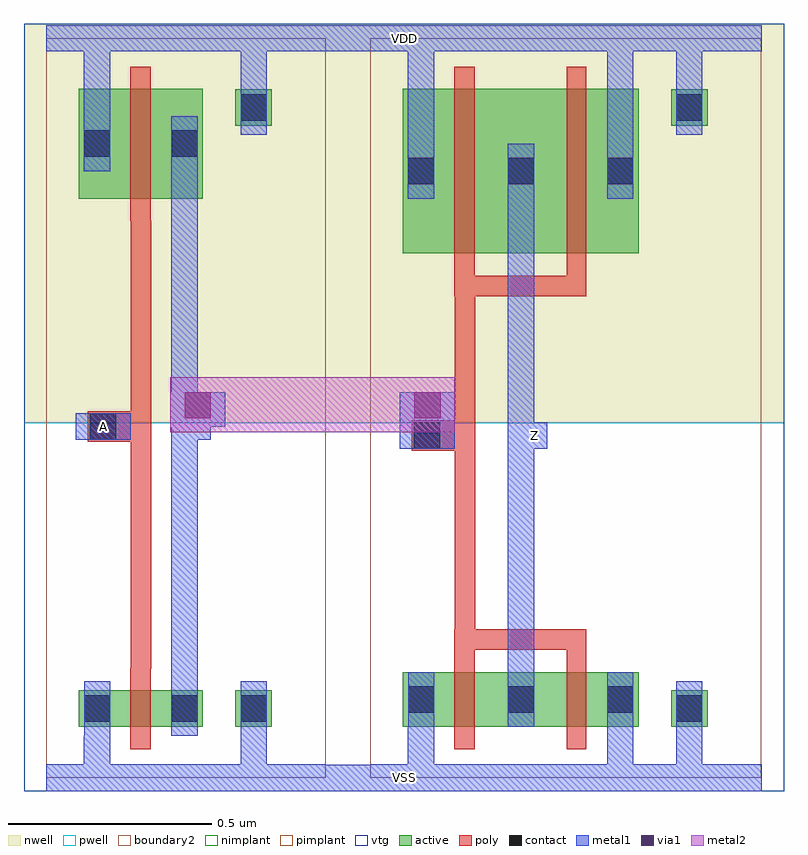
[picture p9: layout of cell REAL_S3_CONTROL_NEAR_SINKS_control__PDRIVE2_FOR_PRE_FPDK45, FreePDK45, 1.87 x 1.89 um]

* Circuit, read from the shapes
.subckt REAL_S3_CONTROL_NEAR_SINKS_control__PDRIVE2_FOR_PRE_FPDK45 A VDD VSS Z
M1 n1 A VSS VSS nfet w=0.09u l=0.05u
M2 Z n1 VSS VSS nfet w=0.135u l=0.05u
M3 VSS n1 Z VSS nfet w=0.135u l=0.049u
M4 n1 A VDD VDD pfet w=0.27u l=0.05u
M5 Z n1 VDD VDD pfet w=0.405u l=0.05u
M6 VDD n1 Z VDD pfet w=0.405u l=0.049u
.ends

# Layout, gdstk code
import gdstk
lib = gdstk.Library(unit=1e-6, precision=1e-09)
def R(c, l, rs):  # rectangles x0, y0, x1, y1
    for r in rs: c.add(gdstk.rectangle(r[:2], r[2:], *l))
active = (1, 0)
pwell = (2, 0)
nwell = (3, 0)
nimplant = (4, 0)
pimplant = (5, 0)
vtg = (6, 0)
poly = (9, 0)
contact = (10, 0)
metal1 = (11, 0)
via1 = (12, 0)
metal2 = (13, 0)
boundary2 = (239, 0)

real_s3_control_near_sin = lib.new_cell('REAL_S3_CONTROL_NEAR_SINKS_control__TEAMB_CLONE__inv1__PINV_NW90_PW270_L50__TRANSMISSION_GATE_NW250_PW500_L50_contact_8')
R(real_s3_control_near_sin, active, [(0,0.022,0.09,0.112), (0,0.022,0.09,0.112), (0,0.022,0.09,0.112)])
R(real_s3_control_near_sin, nwell, [(-0.055,-0.033,0.145,0.168), (-0.055,-0.033,0.145,0.168), (-0.055,-0.033,0.145,0.168)])
R(real_s3_control_near_sin, pimplant, [(0,0.022,0.09,0.112), (0,0.022,0.09,0.112), (0,0.022,0.09,0.112)])
R(real_s3_control_near_sin, contact, [(0.013,0.035,0.077,0.1), (0.013,0.035,0.077,0.1), (0.013,0.035,0.077,0.1)])
R(real_s3_control_near_sin, metal1, [(0.013,0,0.077,0.135), (0.013,0,0.077,0.135), (0.013,0,0.077,0.135)])
R(real_s3_control_near_sin, boundary2, [(-0.055,-0.033,0.145,0.168), (-0.055,-0.033,0.145,0.168), (-0.055,-0.033,0.145,0.168)])

c_real_s3_control_near_sin = lib.new_cell('REAL_S3_CONTROL_NEAR_SINKS_control__TEAMB_CLONE__inv1__PINV_NW90_PW270_L50__PINV_NW180_PW270_L50_pmos_m1_w0_270_sm1_dm1_da_p')
R(c_real_s3_control_near_sin, active, [(0,0,0.305,0.27), (0,0,0.305,0.27), (0,0,0.305,0.27)])
R(c_real_s3_control_near_sin, nwell, [(-0.08,-0.08,0.385,0.35), (-0.08,-0.08,0.385,0.35), (-0.08,-0.08,0.385,0.35)])
R(c_real_s3_control_near_sin, pimplant, [(0,0,0.305,0.27), (0,0,0.305,0.27), (0,0,0.305,0.27)])
R(c_real_s3_control_near_sin, vtg, [(-0.08,-0.08,0.385,0.35), (-0.08,-0.08,0.385,0.35), (-0.08,-0.08,0.385,0.35)])
R(c_real_s3_control_near_sin, poly, [(0.127,-0.055,0.177,0.325), (0.127,-0.055,0.177,0.325), (0.127,-0.055,0.177,0.325), (0.127,-0.055,0.177,0.325), (0.127,-0.055,0.177,0.325), (0.127,-0.055,0.177,0.325)])
R(c_real_s3_control_near_sin, metal1, [(0.013,0.068,0.077,0.203), (0.013,0.068,0.077,0.203), (0.013,0.068,0.077,0.203), (0.227,0.068,0.292,0.203), (0.227,0.068,0.292,0.203), (0.227,0.068,0.292,0.203)])
R(c_real_s3_control_near_sin, boundary2, [(-0.08,-0.08,0.385,0.35), (-0.08,-0.08,0.385,0.35), (-0.08,-0.08,0.385,0.35)])
c_real_s3_control_near_sin.add(gdstk.Reference(real_s3_control_near_sin, (0,0.068)))
c_real_s3_control_near_sin.add(gdstk.Reference(real_s3_control_near_sin, (0.215,0.068)))

c_real_s3_control_near_sin_ = lib.new_cell('REAL_S3_CONTROL_NEAR_SINKS_control__TEAMB_CLONE__inv1__PINV_NW90_PW270_L50__TRANSMISSION_GATE_NW250_PW500_L50_contact_7')
R(c_real_s3_control_near_sin_, active, [(0,0.022,0.09,0.112), (0,0.022,0.09,0.112), (0,0.022,0.09,0.112)])
R(c_real_s3_control_near_sin_, pwell, [(-0.055,-0.033,0.145,0.168), (-0.055,-0.033,0.145,0.168), (-0.055,-0.033,0.145,0.168)])
R(c_real_s3_control_near_sin_, nimplant, [(0,0.022,0.09,0.112), (0,0.022,0.09,0.112), (0,0.022,0.09,0.112)])
R(c_real_s3_control_near_sin_, contact, [(0.013,0.035,0.077,0.1), (0.013,0.035,0.077,0.1), (0.013,0.035,0.077,0.1)])
R(c_real_s3_control_near_sin_, metal1, [(0.013,0,0.077,0.135), (0.013,0,0.077,0.135), (0.013,0,0.077,0.135)])
R(c_real_s3_control_near_sin_, boundary2, [(-0.055,-0.033,0.145,0.168), (-0.055,-0.033,0.145,0.168), (-0.055,-0.033,0.145,0.168)])

c_real_s3_control_near_sin__ = lib.new_cell('REAL_S3_CONTROL_NEAR_SINKS_control__TEAMB_CLONE__inv1__PINV_NW90_PW270_L50__PINV_NW90_PW270_L50_nmos_m1_w0_090_sm1_dm1_da_p')
R(c_real_s3_control_near_sin__, active, [(0,0,0.305,0.09), (0,0,0.305,0.09), (0,0,0.305,0.09)])
R(c_real_s3_control_near_sin__, pwell, [(-0.08,-0.08,0.385,0.17), (-0.08,-0.08,0.385,0.17), (-0.08,-0.08,0.385,0.17)])
R(c_real_s3_control_near_sin__, nimplant, [(0,0,0.305,0.09), (0,0,0.305,0.09), (0,0,0.305,0.09)])
R(c_real_s3_control_near_sin__, vtg, [(-0.08,-0.08,0.385,0.17), (-0.08,-0.08,0.385,0.17), (-0.08,-0.08,0.385,0.17)])
R(c_real_s3_control_near_sin__, poly, [(0.127,-0.055,0.177,0.145), (0.127,-0.055,0.177,0.145), (0.127,-0.055,0.177,0.145), (0.127,-0.055,0.177,0.145), (0.127,-0.055,0.177,0.145), (0.127,-0.055,0.177,0.145)])
R(c_real_s3_control_near_sin__, metal1, [(0.013,-0.022,0.077,0.112), (0.013,-0.022,0.077,0.112), (0.013,-0.022,0.077,0.112), (0.227,-0.022,0.292,0.112), (0.227,-0.022,0.292,0.112), (0.227,-0.022,0.292,0.112)])
R(c_real_s3_control_near_sin__, boundary2, [(-0.08,-0.08,0.385,0.17), (-0.08,-0.08,0.385,0.17), (-0.08,-0.08,0.385,0.17)])
c_real_s3_control_near_sin__.add(gdstk.Reference(c_real_s3_control_near_sin_, (0,-0.022)))
c_real_s3_control_near_sin__.add(gdstk.Reference(c_real_s3_control_near_sin_, (0.215,-0.022)))

c_real_s3_control_near_sin___ = lib.new_cell('REAL_S3_CONTROL_NEAR_SINKS_control__TEAMB_CLONE__inv1__PINV_NW90_PW270_L50__TRANSMISSION_GATE_NW250_PW500_L50_contact_9')
R(c_real_s3_control_near_sin___, active, [(0,0.022,0.09,0.112), (0,0.022,0.09,0.112), (0,0.022,0.09,0.112)])
R(c_real_s3_control_near_sin___, nwell, [(-0.055,-0.033,0.145,0.168), (-0.055,-0.033,0.145,0.168), (-0.055,-0.033,0.145,0.168)])
R(c_real_s3_control_near_sin___, nimplant, [(0,0.022,0.09,0.112), (0,0.022,0.09,0.112), (0,0.022,0.09,0.112)])
R(c_real_s3_control_near_sin___, contact, [(0.013,0.035,0.077,0.1), (0.013,0.035,0.077,0.1), (0.013,0.035,0.077,0.1)])
R(c_real_s3_control_near_sin___, metal1, [(0.013,0,0.077,0.135), (0.013,0,0.077,0.135), (0.013,0,0.077,0.135)])
R(c_real_s3_control_near_sin___, boundary2, [(-0.055,-0.033,0.145,0.168), (-0.055,-0.033,0.145,0.168), (-0.055,-0.033,0.145,0.168)])

c_real_s3_control_near_sin____ = lib.new_cell('REAL_S3_CONTROL_NEAR_SINKS_control__TEAMB_CLONE__inv1__PINV_NW90_PW270_L50__TRANSMISSION_GATE_NW250_PW500_L50_contact_10')
R(c_real_s3_control_near_sin____, active, [(0,0.022,0.09,0.112), (0,0.022,0.09,0.112), (0,0.022,0.09,0.112)])
R(c_real_s3_control_near_sin____, pwell, [(-0.055,-0.033,0.145,0.168), (-0.055,-0.033,0.145,0.168), (-0.055,-0.033,0.145,0.168)])
R(c_real_s3_control_near_sin____, pimplant, [(0,0.022,0.09,0.112), (0,0.022,0.09,0.112), (0,0.022,0.09,0.112)])
R(c_real_s3_control_near_sin____, contact, [(0.013,0.035,0.077,0.1), (0.013,0.035,0.077,0.1), (0.013,0.035,0.077,0.1)])
R(c_real_s3_control_near_sin____, metal1, [(0.013,0,0.077,0.135), (0.013,0,0.077,0.135), (0.013,0,0.077,0.135)])
R(c_real_s3_control_near_sin____, boundary2, [(-0.055,-0.033,0.145,0.168), (-0.055,-0.033,0.145,0.168), (-0.055,-0.033,0.145,0.168)])

c_real_s3_control_near_sin_____ = lib.new_cell('REAL_S3_CONTROL_NEAR_SINKS_control__TEAMB_CLONE__inv1__PINV_NW90_PW270_L50__PINV_NW180_PW270_L50_contact_11')
R(c_real_s3_control_near_sin_____, poly, [(0.03,0,0.105,0.075), (0.03,0,0.105,0.075), (0.03,0,0.105,0.075)])
R(c_real_s3_control_near_sin_____, contact, [(0.035,0.005,0.1,0.07), (0.035,0.005,0.1,0.07), (0.035,0.005,0.1,0.07)])
R(c_real_s3_control_near_sin_____, metal1, [(0,0.005,0.135,0.07), (0,0.005,0.135,0.07), (0,0.005,0.135,0.07)])
R(c_real_s3_control_near_sin_____, boundary2, [(0,0,0.135,0.075), (0,0,0.135,0.075), (0,0,0.135,0.075)])

c_real_s3_control_near_sin______ = lib.new_cell('REAL_S3_CONTROL_NEAR_SINKS_control__TEAMB_CLONE__inv1__PINV_NW90_PW270_L50__PINV_NW90_PW270_L50_core')
R(c_real_s3_control_near_sin______, pwell, [(-0.055,-0.033,0.743,0.873), (-0.055,-0.033,0.743,0.873), (-0.055,-0.033,0.743,0.873)])
R(c_real_s3_control_near_sin______, nwell, [(-0.055,0.873,0.743,1.855), (-0.055,0.873,0.743,1.855), (-0.055,0.873,0.743,1.855)])
R(c_real_s3_control_near_sin______, vtg, [(-0.055,-0.033,0.743,0.873), (-0.055,-0.033,0.743,0.873), (-0.055,-0.033,0.743,0.873), (-0.055,0.873,0.743,1.855), (-0.055,0.873,0.743,1.855), (-0.055,0.873,0.743,1.855)])
R(c_real_s3_control_near_sin______, poly, [(0.208,0.27,0.258,1.37), (0.208,0.27,0.258,1.37), (0.208,0.27,0.258,1.37), (0.14,0.827,0.208,0.902), (0.14,0.827,0.208,0.902), (0.14,0.827,0.208,0.902)])
R(c_real_s3_control_near_sin______, metal1, [(0,-0.033,0.687,0.033), (0,-0.033,0.687,0.033), (0,-0.033,0.687,0.033), (0.092,-0.033,0.157,0.103), (0.092,-0.033,0.157,0.103), (0.092,-0.033,0.157,0.103), (0.478,0,0.542,0.17), (0.478,0,0.542,0.17), (0.478,0,0.542,0.17), (0.307,0.103,0.372,1.627), (0.307,0.103,0.372,1.627), (0.307,0.103,0.372,1.627), (0.072,0.832,0.208,0.897), (0.072,0.832,0.208,0.897), (0.072,0.832,0.208,0.897), (0.34,0.832,0.405,0.897), (0.34,0.832,0.405,0.897), (0.34,0.832,0.405,0.897), (0.092,1.492,0.157,1.852), (0.092,1.492,0.157,1.852), (0.092,1.492,0.157,1.852), (0.478,1.65,0.542,1.82), (0.478,1.65,0.542,1.82), (0.478,1.65,0.542,1.82), (0,1.787,0.687,1.852), (0,1.787,0.687,1.852), (0,1.787,0.687,1.852)])
R(c_real_s3_control_near_sin______, boundary2, [(0,0,0.687,1.82), (0,0,0.687,1.82), (0,0,0.687,1.82), (0,0,0.687,1.82), (0,0,0.687,1.82), (0,0,0.687,1.82)])
c_real_s3_control_near_sin______.add(gdstk.Reference(c_real_s3_control_near_sin, (0.08,1.425)))
c_real_s3_control_near_sin______.add(gdstk.Reference(c_real_s3_control_near_sin__, (0.08,0.125)))
c_real_s3_control_near_sin______.add(gdstk.Reference(c_real_s3_control_near_sin___, (0.465,1.582)))
c_real_s3_control_near_sin______.add(gdstk.Reference(c_real_s3_control_near_sin____, (0.465,0.103)))
c_real_s3_control_near_sin______.add(gdstk.Reference(c_real_s3_control_near_sin_____, (0.072,0.827)))

c_real_s3_control_near_sin_______ = lib.new_cell('REAL_S3_CONTROL_NEAR_SINKS_control__TEAMB_CLONE__inv1__PINV_NW90_PW270_L50__PINV_NW90_PW270_L50')
R(c_real_s3_control_near_sin_______, metal1, [(0,-0.033,0.687,0.033), (0,-0.033,0.687,0.033), (0,-0.033,0.687,0.033), (0.072,0.832,0.208,0.897), (0.072,0.832,0.208,0.897), (0.072,0.832,0.208,0.897), (0.34,0.832,0.405,0.897), (0.34,0.832,0.405,0.897), (0.34,0.832,0.405,0.897), (0,1.787,0.687,1.852), (0,1.787,0.687,1.852), (0,1.787,0.687,1.852)])
R(c_real_s3_control_near_sin_______, boundary2, [(0,0,0.687,1.82), (0,0,0.687,1.82), (0,0,0.687,1.82)])
c_real_s3_control_near_sin_______.add(gdstk.Reference(c_real_s3_control_near_sin______, (0,0)))

c_real_s3_control_near_sin________ = lib.new_cell('REAL_S3_CONTROL_NEAR_SINKS_control__TEAMB_CLONE__inv2__PINV_NW270_PW810_L50__TRANSMISSION_GATE_NW250_PW500_L50_contact_8')
R(c_real_s3_control_near_sin________, active, [(0,0.022,0.09,0.112), (0,0.022,0.09,0.112)])
R(c_real_s3_control_near_sin________, nwell, [(-0.055,-0.033,0.145,0.168), (-0.055,-0.033,0.145,0.168)])
R(c_real_s3_control_near_sin________, pimplant, [(0,0.022,0.09,0.112), (0,0.022,0.09,0.112)])
R(c_real_s3_control_near_sin________, contact, [(0.013,0.035,0.077,0.1), (0.013,0.035,0.077,0.1)])
R(c_real_s3_control_near_sin________, metal1, [(0.013,0,0.077,0.135), (0.013,0,0.077,0.135)])
R(c_real_s3_control_near_sin________, boundary2, [(-0.055,-0.033,0.145,0.168), (-0.055,-0.033,0.145,0.168)])

c_real_s3_control_near_sin_________ = lib.new_cell('REAL_S3_CONTROL_NEAR_SINKS_control__TEAMB_CLONE__inv2__PINV_NW270_PW810_L50__PINV_NW270_PW810_L50_pmos_m2_w0_405_sm1_dm1_da_p')
R(c_real_s3_control_near_sin_________, active, [(0,0,0.58,0.405), (0,0,0.58,0.405)])
R(c_real_s3_control_near_sin_________, nwell, [(-0.08,-0.08,0.66,0.485), (-0.08,-0.08,0.66,0.485)])
R(c_real_s3_control_near_sin_________, pimplant, [(0,0,0.58,0.405), (0,0,0.58,0.405)])
R(c_real_s3_control_near_sin_________, vtg, [(-0.08,-0.08,0.66,0.485), (-0.08,-0.08,0.66,0.485)])
R(c_real_s3_control_near_sin_________, poly, [(0.127,-0.105,0.452,-0.055), (0.127,-0.105,0.452,-0.055), (0.127,-0.055,0.177,0.46), (0.127,-0.055,0.177,0.46), (0.403,-0.055,0.452,0.46), (0.403,-0.055,0.452,0.46)])
R(c_real_s3_control_near_sin_________, metal1, [(0.013,0.135,0.077,0.27), (0.013,0.135,0.077,0.27), (0.258,0.135,0.323,0.27), (0.258,0.135,0.323,0.27), (0.503,0.135,0.567,0.27), (0.503,0.135,0.567,0.27)])
R(c_real_s3_control_near_sin_________, boundary2, [(-0.08,-0.105,0.66,0.485), (-0.08,-0.105,0.66,0.485)])
c_real_s3_control_near_sin_________.add(gdstk.Reference(c_real_s3_control_near_sin________, (0,0.135)))
c_real_s3_control_near_sin_________.add(gdstk.Reference(c_real_s3_control_near_sin________, (0.245,0.135)))
c_real_s3_control_near_sin_________.add(gdstk.Reference(c_real_s3_control_near_sin________, (0.49,0.135)))

c_real_s3_control_near_sin__________ = lib.new_cell('REAL_S3_CONTROL_NEAR_SINKS_control__TEAMB_CLONE__inv2__PINV_NW270_PW810_L50__TRANSMISSION_GATE_NW250_PW500_L50_contact_7')
R(c_real_s3_control_near_sin__________, active, [(0,0.022,0.09,0.112), (0,0.022,0.09,0.112)])
R(c_real_s3_control_near_sin__________, pwell, [(-0.055,-0.033,0.145,0.168), (-0.055,-0.033,0.145,0.168)])
R(c_real_s3_control_near_sin__________, nimplant, [(0,0.022,0.09,0.112), (0,0.022,0.09,0.112)])
R(c_real_s3_control_near_sin__________, contact, [(0.013,0.035,0.077,0.1), (0.013,0.035,0.077,0.1)])
R(c_real_s3_control_near_sin__________, metal1, [(0.013,0,0.077,0.135), (0.013,0,0.077,0.135)])
R(c_real_s3_control_near_sin__________, boundary2, [(-0.055,-0.033,0.145,0.168), (-0.055,-0.033,0.145,0.168)])

c_real_s3_control_near_sin___________ = lib.new_cell('REAL_S3_CONTROL_NEAR_SINKS_control__TEAMB_CLONE__inv2__PINV_NW270_PW810_L50__PINV_NW270_PW810_L50_nmos_m2_w0_135_sm1_dm1_da_p')
R(c_real_s3_control_near_sin___________, active, [(0,0,0.58,0.135), (0,0,0.58,0.135)])
R(c_real_s3_control_near_sin___________, pwell, [(-0.08,-0.08,0.66,0.215), (-0.08,-0.08,0.66,0.215)])
R(c_real_s3_control_near_sin___________, nimplant, [(0,0,0.58,0.135), (0,0,0.58,0.135)])
R(c_real_s3_control_near_sin___________, vtg, [(-0.08,-0.08,0.66,0.215), (-0.08,-0.08,0.66,0.215)])
R(c_real_s3_control_near_sin___________, poly, [(0.127,-0.055,0.177,0.19), (0.127,-0.055,0.177,0.19), (0.403,-0.055,0.452,0.19), (0.403,-0.055,0.452,0.19), (0.127,0.19,0.452,0.24), (0.127,0.19,0.452,0.24)])
R(c_real_s3_control_near_sin___________, metal1, [(0.013,0,0.077,0.135), (0.013,0,0.077,0.135), (0.258,0,0.323,0.135), (0.258,0,0.323,0.135), (0.503,0,0.567,0.135), (0.503,0,0.567,0.135)])
R(c_real_s3_control_near_sin___________, boundary2, [(-0.08,-0.08,0.66,0.24), (-0.08,-0.08,0.66,0.24)])
c_real_s3_control_near_sin___________.add(gdstk.Reference(c_real_s3_control_near_sin__________, (0,0)))
c_real_s3_control_near_sin___________.add(gdstk.Reference(c_real_s3_control_near_sin__________, (0.245,0)))
c_real_s3_control_near_sin___________.add(gdstk.Reference(c_real_s3_control_near_sin__________, (0.49,0)))

c_real_s3_control_near_sin____________ = lib.new_cell('REAL_S3_CONTROL_NEAR_SINKS_control__TEAMB_CLONE__inv2__PINV_NW270_PW810_L50__TRANSMISSION_GATE_NW250_PW500_L50_contact_9')
R(c_real_s3_control_near_sin____________, active, [(0,0.022,0.09,0.112), (0,0.022,0.09,0.112)])
R(c_real_s3_control_near_sin____________, nwell, [(-0.055,-0.033,0.145,0.168), (-0.055,-0.033,0.145,0.168)])
R(c_real_s3_control_near_sin____________, nimplant, [(0,0.022,0.09,0.112), (0,0.022,0.09,0.112)])
R(c_real_s3_control_near_sin____________, contact, [(0.013,0.035,0.077,0.1), (0.013,0.035,0.077,0.1)])
R(c_real_s3_control_near_sin____________, metal1, [(0.013,0,0.077,0.135), (0.013,0,0.077,0.135)])
R(c_real_s3_control_near_sin____________, boundary2, [(-0.055,-0.033,0.145,0.168), (-0.055,-0.033,0.145,0.168)])

c_real_s3_control_near_sin_____________ = lib.new_cell('REAL_S3_CONTROL_NEAR_SINKS_control__TEAMB_CLONE__inv2__PINV_NW270_PW810_L50__TRANSMISSION_GATE_NW250_PW500_L50_contact_10')
R(c_real_s3_control_near_sin_____________, active, [(0,0.022,0.09,0.112), (0,0.022,0.09,0.112)])
R(c_real_s3_control_near_sin_____________, pwell, [(-0.055,-0.033,0.145,0.168), (-0.055,-0.033,0.145,0.168)])
R(c_real_s3_control_near_sin_____________, pimplant, [(0,0.022,0.09,0.112), (0,0.022,0.09,0.112)])
R(c_real_s3_control_near_sin_____________, contact, [(0.013,0.035,0.077,0.1), (0.013,0.035,0.077,0.1)])
R(c_real_s3_control_near_sin_____________, metal1, [(0.013,0,0.077,0.135), (0.013,0,0.077,0.135)])
R(c_real_s3_control_near_sin_____________, boundary2, [(-0.055,-0.033,0.145,0.168), (-0.055,-0.033,0.145,0.168)])

c_real_s3_control_near_sin______________ = lib.new_cell('REAL_S3_CONTROL_NEAR_SINKS_control__TEAMB_CLONE__inv2__PINV_NW270_PW810_L50__PINV_NW180_PW270_L50_contact_11')
R(c_real_s3_control_near_sin______________, poly, [(0.03,0,0.105,0.075), (0.03,0,0.105,0.075)])
R(c_real_s3_control_near_sin______________, contact, [(0.035,0.005,0.1,0.07), (0.035,0.005,0.1,0.07)])
R(c_real_s3_control_near_sin______________, metal1, [(0,0.005,0.135,0.07), (0,0.005,0.135,0.07)])
R(c_real_s3_control_near_sin______________, boundary2, [(0,0,0.135,0.075), (0,0,0.135,0.075)])

c_real_s3_control_near_sin_______________ = lib.new_cell('REAL_S3_CONTROL_NEAR_SINKS_control__TEAMB_CLONE__inv2__PINV_NW270_PW810_L50__PINV_NW270_PW810_L50_core')
R(c_real_s3_control_near_sin_______________, pwell, [(-0.055,-0.033,1.018,0.873), (-0.055,-0.033,1.018,0.873)])
R(c_real_s3_control_near_sin_______________, nwell, [(-0.055,0.873,1.018,1.855), (-0.055,0.873,1.018,1.855)])
R(c_real_s3_control_near_sin_______________, vtg, [(-0.055,-0.033,1.018,0.873), (-0.055,-0.033,1.018,0.873), (-0.055,0.873,1.018,1.855), (-0.055,0.873,1.018,1.855)])
R(c_real_s3_control_near_sin_______________, poly, [(0.208,0.365,0.258,1.185), (0.208,0.365,0.258,1.185), (0.14,0.805,0.208,0.88), (0.14,0.805,0.208,0.88)])
R(c_real_s3_control_near_sin_______________, metal1, [(0,-0.033,0.962,0.033), (0,-0.033,0.962,0.033), (0.092,-0.033,0.157,0.125), (0.092,-0.033,0.157,0.125), (0.583,-0.033,0.647,0.125), (0.583,-0.033,0.647,0.125), (0.753,0,0.817,0.17), (0.753,0,0.817,0.17), (0.338,0.125,0.403,1.56), (0.338,0.125,0.403,1.56), (0.072,0.81,0.208,0.875), (0.072,0.81,0.208,0.875), (0.37,0.81,0.435,0.875), (0.37,0.81,0.435,0.875), (0.092,1.425,0.157,1.852), (0.092,1.425,0.157,1.852), (0.583,1.425,0.647,1.852), (0.583,1.425,0.647,1.852), (0.753,1.65,0.817,1.82), (0.753,1.65,0.817,1.82), (0,1.787,0.962,1.852), (0,1.787,0.962,1.852)])
R(c_real_s3_control_near_sin_______________, boundary2, [(0,0,0.962,1.82), (0,0,0.962,1.82), (0,0,0.962,1.82), (0,0,0.962,1.82)])
c_real_s3_control_near_sin_______________.add(gdstk.Reference(c_real_s3_control_near_sin_________, (0.08,1.29)))
c_real_s3_control_near_sin_______________.add(gdstk.Reference(c_real_s3_control_near_sin___________, (0.08,0.125)))
c_real_s3_control_near_sin_______________.add(gdstk.Reference(c_real_s3_control_near_sin____________, (0.74,1.582)))
c_real_s3_control_near_sin_______________.add(gdstk.Reference(c_real_s3_control_near_sin_____________, (0.74,0.103)))
c_real_s3_control_near_sin_______________.add(gdstk.Reference(c_real_s3_control_near_sin______________, (0.072,0.805)))

c_real_s3_control_near_sin________________ = lib.new_cell('REAL_S3_CONTROL_NEAR_SINKS_control__TEAMB_CLONE__inv2__PINV_NW270_PW810_L50__PINV_NW270_PW810_L50')
R(c_real_s3_control_near_sin________________, metal1, [(0,-0.033,0.962,0.033), (0,-0.033,0.962,0.033), (0.072,0.81,0.208,0.875), (0.072,0.81,0.208,0.875), (0.37,0.81,0.435,0.875), (0.37,0.81,0.435,0.875), (0,1.787,0.962,1.852), (0,1.787,0.962,1.852)])
R(c_real_s3_control_near_sin________________, boundary2, [(0,0,0.962,1.82), (0,0,0.962,1.82)])
c_real_s3_control_near_sin________________.add(gdstk.Reference(c_real_s3_control_near_sin_______________, (0,0)))

c_real_s3_control_near_sin_________________ = lib.new_cell('REAL_S3_CONTROL_NEAR_SINKS_control__PDRIVE2_FOR_PRE_FPDK45')
R(c_real_s3_control_near_sin_________________, metal1, [(0.055,0,1.815,0.065), (0.925,0.875,1.06,0.982), (0.36,0.897,0.495,0.982), (0.055,1.82,1.815,1.885)])
R(c_real_s3_control_near_sin_________________, via1, [(0.395,0.917,0.46,0.982), (0.96,0.917,1.025,0.982)])
R(c_real_s3_control_near_sin_________________, metal2, [(0.36,0.883,0.495,1.018), (0.427,0.883,0.992,1.018), (0.925,0.883,1.06,1.018)])
c_real_s3_control_near_sin_________________.add(gdstk.Reference(c_real_s3_control_near_sin_______, (0.055,0.033)))
c_real_s3_control_near_sin_________________.add(gdstk.Reference(c_real_s3_control_near_sin________________, (0.852,0.033)))
c_real_s3_control_near_sin_________________.add(gdstk.Label('VDD', (0.935,1.852), layer=11, texttype=2))
c_real_s3_control_near_sin_________________.add(gdstk.Label('VSS', (0.935,0.033), layer=11, texttype=2))
c_real_s3_control_near_sin_________________.add(gdstk.Label('A', (0.195,0.897), layer=11, texttype=2))
c_real_s3_control_near_sin_________________.add(gdstk.Label('Z', (1.255,0.875), layer=11, texttype=2))

lib.write_gds('REAL_S3_CONTROL_NEAR_SINKS_control__PDRIVE2_FOR_PRE_FPDK45.gds')
